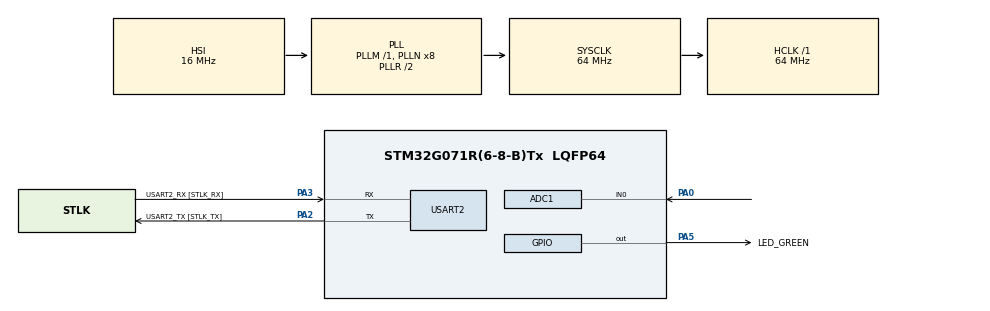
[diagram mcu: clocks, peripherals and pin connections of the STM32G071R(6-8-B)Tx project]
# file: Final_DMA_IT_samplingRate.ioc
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ADC1.Channel-0\#ChannelRegularConversion=ADC_CHANNEL_0
ADC1.ClockPrescaler=ADC_CLOCK_SYNC_PCLK_DIV4
ADC1.ContinuousConvMode=ENABLE
ADC1.DMAContinuousRequests=ENABLE
ADC1.NbrOfConversionFlag=1
ADC1.Rank-0\#ChannelRegularConversion=1
ADC1.SamplingTime-0\#ChannelRegularConversion=ADC_SAMPLINGTIME_COMMON_1
ADC1.SamplingTimeCommon1=ADC_SAMPLETIME_160CYCLES_5
ADC1.SelectedChannel=ADC_CHANNEL_0
ADC1.master=1
Dma.ADC1.0.Direction=DMA_PERIPH_TO_MEMORY
Dma.ADC1.0.EventEnable=DISABLE
Dma.ADC1.0.Instance=DMA1_Channel1
Dma.ADC1.0.MemDataAlignment=DMA_MDATAALIGN_WORD
Dma.ADC1.0.MemInc=DMA_MINC_ENABLE
Dma.ADC1.0.Mode=DMA_CIRCULAR
Dma.ADC1.0.PeriphDataAlignment=DMA_PDATAALIGN_WORD
Dma.ADC1.0.PeriphInc=DMA_PINC_DISABLE
Dma.ADC1.0.Polarity=HAL_DMAMUX_REQ_GEN_RISING
Dma.ADC1.0.Priority=DMA_PRIORITY_LOW
Dma.ADC1.0.RequestNumber=1
Dma.ADC1.0.SignalID=NONE
Dma.ADC1.0.SyncEnable=DISABLE
Dma.ADC1.0.SyncPolarity=HAL_DMAMUX_SYNC_NO_EVENT
Dma.ADC1.0.SyncRequestNumber=1
Dma.ADC1.0.SyncSignalID=NONE
Dma.Request0=ADC1
Mcu.Family=STM32G0
Mcu.Name=STM32G071R(6-8-B)Tx
Mcu.Package=LQFP64
NVIC.DMA1_Channel1_IRQn=true\:0\:0\:false\:false\:true\:false\:true
PA0.Mode=IN0
PA0.Signal=ADC1_IN0
PA13.GPIO_Label=TMS
PA13.Signal=SYS_SWDIO
PA14-BOOT0.GPIO_Label=TCK
PA14-BOOT0.Signal=SYS_SWCLK
PA2.GPIO_Label=USART2_TX [STLK_TX]
PA2.Mode=Asynchronous
PA2.Signal=USART2_TX
PA3.GPIO_Label=USART2_RX [STLK_RX]
PA3.Mode=Asynchronous
PA3.Signal=USART2_RX
PA5.GPIO_Label=LED_GREEN
PA5.GPIO_Speed=GPIO_SPEED_FREQ_HIGH
PA5.Signal=GPIO_Output
PC13.Signal=SYS_WKUP2
PC14-OSC32_IN\ (PC14).Signal=RCC_OSC32_IN
PC15-OSC32_OUT\ (PC15).Signal=RCC_OSC32_OUT
PF0-OSC_IN\ (PF0).GPIO_Label=MCO
PF0-OSC_IN\ (PF0).Signal=RCC_OSC_IN
ProjectManager.HeapSize=0x200
ProjectManager.StackSize=0x400
ProjectManager.TargetToolchain=STM32CubeIDE
RCC.ADCFreq_Value=64000000
RCC.AHBFreq_Value=64000000
RCC.CortexFreq_Value=64000000
RCC.EXTERNAL_CLOCK_VALUE=12288000
RCC.HCLKFreq_Value=64000000
RCC.HSE_VALUE=8000000
RCC.HSI_VALUE=16000000
RCC.LSE_VALUE=32768
RCC.SYSCLKFreq_VALUE=64000000
RCC.SYSCLKSource=RCC_SYSCLKSOURCE_PLLCLK
RCC.VCOOutputFreq_Value=128000000
TIM6.Prescaler=64000-1
USART2.VirtualMode-Asynchronous=VM_ASYNC
VP_SYS_VS_DBSignals.Mode=DisableDeadBatterySignals
VP_TIM6_VS_ClockSourceINT.Mode=Enable_Timer
board=NUCLEO-G071RB

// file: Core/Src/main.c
/* USER CODE BEGIN Header */
/**
  ******************************************************************************
  * @file           : main.c
  * @brief          : Main program body
  ******************************************************************************
  * @attention
  *
  * <h2><center>&copy; Copyright (c) 2023 STMicroelectronics.
  * All rights reserved.</center></h2>
  *
  * This software component is licensed by ST under BSD 3-Clause license,
  * the "License"; You may not use this file except in compliance with the
  * License. You may obtain a copy of the License at:
  *                        opensource.org/licenses/BSD-3-Clause
  *
  ******************************************************************************
  */
/* USER CODE END Header */
#include "main.h"

/* USER CODE BEGIN Includes */
#include <stdio.h>
#include <string.h>
/* USER CODE END Includes */

/* USER CODE BEGIN PD */
#define buffer_size 50
/* USER CODE END PD */

ADC_HandleTypeDef hadc1;
DMA_HandleTypeDef hdma_adc1;

TIM_HandleTypeDef htim6;

UART_HandleTypeDef huart2;

/* USER CODE BEGIN PV */
  uint32_t count =0;
  uint16_t time1=0;
  uint32_t time2=0;
  char msg[50];
  uint64_t sum = 0;
  uint64_t AV = 0;
  uint32_t value[buffer_size];
/* USER CODE END PV */

void SystemClock_Config(void);
static void MX_GPIO_Init(void);
static void MX_DMA_Init(void);
static void MX_ADC1_Init(void);
static void MX_USART2_UART_Init(void);
static void MX_TIM6_Init(void);

int main(void)
{
  /* USER CODE BEGIN 1 */

	//uint132_t final_time=0;
	//uint16_t count=0;
  /* USER CODE END 1 */

  /* MCU Configuration--------------------------------------------------------*/

  /* Reset of all peripherals, Initializes the Flash interface and the Systick. */
  HAL_Init();

  /* Configure the system clock */
  SystemClock_Config();

  /* Initialize all configured peripherals */
  MX_GPIO_Init();
  MX_DMA_Init();
  MX_ADC1_Init();
  MX_USART2_UART_Init();
  MX_TIM6_Init();
  /* USER CODE BEGIN 2 */

  //HAL_DMA_RegisterCallback(&hadc1, HAL_DMA_XFER_CPLT_CB_ID, &HAL_ADC_ConvCpltCallback);
  HAL_ADC_Start_DMA(&hadc1,value, buffer_size);
  HAL_TIM_Base_Start(&htim6);
  time1 = __HAL_TIM_GET_COUNTER(&htim6);

  /* USER CODE END 2 */

  /* Infinite loop */
  while (1)
  {

  }
}

void SystemClock_Config(void)
{
  RCC_OscInitTypeDef RCC_OscInitStruct = {0};
  RCC_ClkInitTypeDef RCC_ClkInitStruct = {0};
  RCC_PeriphCLKInitTypeDef PeriphClkInit = {0};

  /** Configure the main internal regulator output voltage
  */
  HAL_PWREx_ControlVoltageScaling(PWR_REGULATOR_VOLTAGE_SCALE1);
  /** Initializes the RCC Oscillators according to the specified parameters
  * in the RCC_OscInitTypeDef structure.
  */
  RCC_OscInitStruct.OscillatorType = RCC_OSCILLATORTYPE_HSI;
  RCC_OscInitStruct.HSIState = RCC_HSI_ON;
  RCC_OscInitStruct.HSIDiv = RCC_HSI_DIV1;
  RCC_OscInitStruct.HSICalibrationValue = RCC_HSICALIBRATION_DEFAULT;
  RCC_OscInitStruct.PLL.PLLState = RCC_PLL_ON;
  RCC_OscInitStruct.PLL.PLLSource = RCC_PLLSOURCE_HSI;
  RCC_OscInitStruct.PLL.PLLM = RCC_PLLM_DIV1;
  RCC_OscInitStruct.PLL.PLLN = 8;
  RCC_OscInitStruct.PLL.PLLP = RCC_PLLP_DIV2;
  RCC_OscInitStruct.PLL.PLLQ = RCC_PLLQ_DIV2;
  RCC_OscInitStruct.PLL.PLLR = RCC_PLLR_DIV2;
  if (HAL_RCC_OscConfig(&RCC_OscInitStruct) != HAL_OK)
  {
    Error_Handler();
  }
  /** Initializes the CPU, AHB and APB buses clocks
  */
  RCC_ClkInitStruct.ClockType = RCC_CLOCKTYPE_HCLK|RCC_CLOCKTYPE_SYSCLK
                              |RCC_CLOCKTYPE_PCLK1;
  RCC_ClkInitStruct.SYSCLKSource = RCC_SYSCLKSOURCE_PLLCLK;
  RCC_ClkInitStruct.AHBCLKDivider = RCC_SYSCLK_DIV1;
  RCC_ClkInitStruct.APB1CLKDivider = RCC_HCLK_DIV1;

  if (HAL_RCC_ClockConfig(&RCC_ClkInitStruct, FLASH_LATENCY_2) != HAL_OK)
  {
    Error_Handler();
  }
  /** Initializes the peripherals clocks
  */
  PeriphClkInit.PeriphClockSelection = RCC_PERIPHCLK_USART2|RCC_PERIPHCLK_ADC;
  PeriphClkInit.Usart2ClockSelection = RCC_USART2CLKSOURCE_PCLK1;
  PeriphClkInit.AdcClockSelection = RCC_ADCCLKSOURCE_SYSCLK;
  if (HAL_RCCEx_PeriphCLKConfig(&PeriphClkInit) != HAL_OK)
  {
    Error_Handler();
  }
}

static void MX_ADC1_Init(void)
{

  ADC_ChannelConfTypeDef sConfig = {0};

  /** Configure the global features of the ADC (Clock, Resolution, Data Alignment and number of conversion)
  */
  hadc1.Instance = ADC1;
  hadc1.Init.ClockPrescaler = ADC_CLOCK_SYNC_PCLK_DIV4;
  hadc1.Init.Resolution = ADC_RESOLUTION_12B;
  hadc1.Init.DataAlign = ADC_DATAALIGN_RIGHT;
  hadc1.Init.ScanConvMode = ADC_SCAN_DISABLE;
  hadc1.Init.EOCSelection = ADC_EOC_SINGLE_CONV;
  hadc1.Init.LowPowerAutoWait = DISABLE;
  hadc1.Init.LowPowerAutoPowerOff = DISABLE;
  hadc1.Init.ContinuousConvMode = ENABLE;
  hadc1.Init.NbrOfConversion = 1;
  hadc1.Init.DiscontinuousConvMode = DISABLE;
  hadc1.Init.ExternalTrigConv = ADC_SOFTWARE_START;
  hadc1.Init.ExternalTrigConvEdge = ADC_EXTERNALTRIGCONVEDGE_NONE;
  hadc1.Init.DMAContinuousRequests = ENABLE;
  hadc1.Init.Overrun = ADC_OVR_DATA_PRESERVED;
  hadc1.Init.SamplingTimeCommon1 = ADC_SAMPLETIME_160CYCLES_5;
  hadc1.Init.SamplingTimeCommon2 = ADC_SAMPLETIME_1CYCLE_5;
  hadc1.Init.OversamplingMode = DISABLE;
  hadc1.Init.TriggerFrequencyMode = ADC_TRIGGER_FREQ_HIGH;
  if (HAL_ADC_Init(&hadc1) != HAL_OK)
  {
    Error_Handler();
  }
  /** Configure Regular Channel
  */
  sConfig.Channel = ADC_CHANNEL_0;
  sConfig.Rank = ADC_REGULAR_RANK_1;
  sConfig.SamplingTime = ADC_SAMPLINGTIME_COMMON_1;
  if (HAL_ADC_ConfigChannel(&hadc1, &sConfig) != HAL_OK)
  {
    Error_Handler();
  }

}

static void MX_TIM6_Init(void)
{

  TIM_MasterConfigTypeDef sMasterConfig = {0};

  htim6.Instance = TIM6;
  htim6.Init.Prescaler = 64000-1;
  htim6.Init.CounterMode = TIM_COUNTERMODE_UP;
  htim6.Init.Period = 65535;
  htim6.Init.AutoReloadPreload = TIM_AUTORELOAD_PRELOAD_DISABLE;
  if (HAL_TIM_Base_Init(&htim6) != HAL_OK)
  {
    Error_Handler();
  }
  sMasterConfig.MasterOutputTrigger = TIM_TRGO_RESET;
  sMasterConfig.MasterSlaveMode = TIM_MASTERSLAVEMODE_DISABLE;
  if (HAL_TIMEx_MasterConfigSynchronization(&htim6, &sMasterConfig) != HAL_OK)
  {
    Error_Handler();
  }

}

static void MX_USART2_UART_Init(void)
{

  huart2.Instance = USART2;
  huart2.Init.BaudRate = 115200;
  huart2.Init.WordLength = UART_WORDLENGTH_8B;
  huart2.Init.StopBits = UART_STOPBITS_1;
  huart2.Init.Parity = UART_PARITY_NONE;
  huart2.Init.Mode = UART_MODE_TX_RX;
  huart2.Init.HwFlowCtl = UART_HWCONTROL_NONE;
  huart2.Init.OverSampling = UART_OVERSAMPLING_16;
  huart2.Init.OneBitSampling = UART_ONE_BIT_SAMPLE_DISABLE;
  huart2.Init.ClockPrescaler = UART_PRESCALER_DIV1;
  huart2.AdvancedInit.AdvFeatureInit = UART_ADVFEATURE_NO_INIT;
  if (HAL_UART_Init(&huart2) != HAL_OK)
  {
    Error_Handler();
  }
  if (HAL_UARTEx_SetTxFifoThreshold(&huart2, UART_TXFIFO_THRESHOLD_1_8) != HAL_OK)
  {
    Error_Handler();
  }
  if (HAL_UARTEx_SetRxFifoThreshold(&huart2, UART_RXFIFO_THRESHOLD_1_8) != HAL_OK)
  {
    Error_Handler();
  }
  if (HAL_UARTEx_DisableFifoMode(&huart2) != HAL_OK)
  {
    Error_Handler();
  }

}

static void MX_DMA_Init(void)
{

  /* DMA controller clock enable */
  __HAL_RCC_DMA1_CLK_ENABLE();

  /* DMA interrupt init */
  /* DMA1_Channel1_IRQn interrupt configuration */
  HAL_NVIC_SetPriority(DMA1_Channel1_IRQn, 0, 0);
  HAL_NVIC_EnableIRQ(DMA1_Channel1_IRQn);

}

static void MX_GPIO_Init(void)
{
  GPIO_InitTypeDef GPIO_InitStruct = {0};

  /* GPIO Ports Clock Enable */
  __HAL_RCC_GPIOC_CLK_ENABLE();
  __HAL_RCC_GPIOF_CLK_ENABLE();
  __HAL_RCC_GPIOA_CLK_ENABLE();

  /*Configure GPIO pin Output Level */
  HAL_GPIO_WritePin(LED_GREEN_GPIO_Port, LED_GREEN_Pin, GPIO_PIN_RESET);

  /*Configure GPIO pin : LED_GREEN_Pin */
  GPIO_InitStruct.Pin = LED_GREEN_Pin;
  GPIO_InitStruct.Mode = GPIO_MODE_OUTPUT_PP;
  GPIO_InitStruct.Pull = GPIO_NOPULL;
  GPIO_InitStruct.Speed = GPIO_SPEED_FREQ_HIGH;
  HAL_GPIO_Init(LED_GREEN_GPIO_Port, &GPIO_InitStruct);

}

/* USER CODE BEGIN 4 */
void HAL_ADC_ConvCpltCallback(ADC_HandleTypeDef *hadc)
{
	  time2 = __HAL_TIM_GET_COUNTER(&htim6); // start counting for 1 sec
	  count ++;
	  for(int i=0; i<buffer_size; i++){
	  	  sum = sum + value[i];
	  }
//	  AV = sum/50;
//	  //sum = 0;
//	  sprintf(msg,"/ms AV=%d\r\n",AV);
//	  HAL_UART_Transmit(&huart2, (uint8_t*)sum, sizeof(sum), HAL_MAX_DELAY);
//	  sum = 0;
	  if(time2-time1 >= 1000)
	  {
		  //sprintf(msg,"sample rate = %ld average = %d time = %d sec\r\n",count*buffer_size,HAL_ADC_GetValue(&hadc1),sec++);
		  sprintf(msg,"SR=%lu",count*buffer_size);
		  HAL_UART_Transmit(&huart2, (uint8_t*)msg, strlen(msg), HAL_MAX_DELAY);

//		  for(int i=0; i<buffer_size; i++){
//			  sum = sum + value[i];
//		  }

		  AV = sum/(count*buffer_size);
		  sprintf(msg,"/ms AV=%lu\r\n",AV);
		  HAL_UART_Transmit(&huart2, (uint8_t*)msg, strlen(msg), HAL_MAX_DELAY);
//		  for(int i=0; i<buffer_size; i++){
//			  sum = sum + value[i];
//		  }
//		  AV = sum/50;
//		  sprintf(msg,"/ms AV=%d\r\n",AV);
//		  HAL_UART_Transmit(&huart2, (uint8_t*)msg, strlen(msg), HAL_MAX_DELAY);

//		  sprintf(msg,"(time took %d sec)\r\n",sec++);
//		  HAL_UART_Transmit(&huart2, (uint8_t*)msg, strlen(msg), HAL_MAX_DELAY);

		  count = 0;
		  sum = 0;
		  time1 = __HAL_TIM_GET_COUNTER(&htim6);
	  }

}
/* USER CODE END 4 */

void Error_Handler(void)
{
  __disable_irq();
  while (1)
  {
  }
}

/************************ (C) COPYRIGHT STMicroelectronics *****END OF FILE****/
